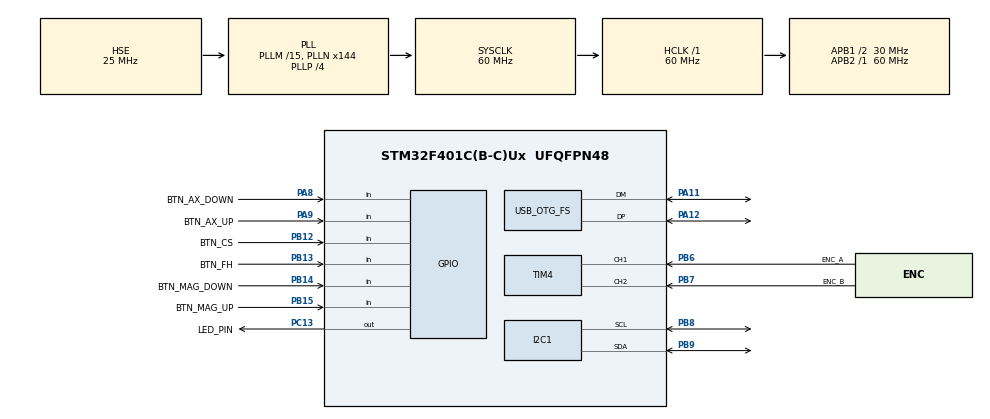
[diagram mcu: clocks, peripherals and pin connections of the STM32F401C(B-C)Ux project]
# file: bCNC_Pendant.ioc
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I2C1.I2C_Mode=I2C_Fast
Mcu.Family=STM32F4
Mcu.Name=STM32F401C(B-C)Ux
Mcu.Package=UFQFPN48
NVIC.OTG_FS_IRQn=true\:0\:0\:false\:false\:true\:false\:true
NVIC.PriorityGroup=NVIC_PRIORITYGROUP_4
PA11.Mode=Device_Only
PA11.Signal=USB_OTG_FS_DM
PA12.Mode=Device_Only
PA12.Signal=USB_OTG_FS_DP
PA8.GPIO_Label=BTN_AX_DOWN
PA8.GPIO_PuPd=GPIO_PULLUP
PA8.Signal=GPIO_Input
PA9.GPIO_Label=BTN_AX_UP
PA9.GPIO_PuPd=GPIO_PULLUP
PA9.Signal=GPIO_Input
PB12.GPIO_Label=BTN_CS
PB12.GPIO_PuPd=GPIO_PULLUP
PB12.Signal=GPIO_Input
PB13.GPIO_Label=BTN_FH
PB13.GPIO_PuPd=GPIO_PULLUP
PB13.Signal=GPIO_Input
PB14.GPIO_Label=BTN_MAG_DOWN
PB14.GPIO_PuPd=GPIO_PULLUP
PB14.Signal=GPIO_Input
PB15.GPIO_Label=BTN_MAG_UP
PB15.GPIO_PuPd=GPIO_PULLUP
PB15.Signal=GPIO_Input
PB6.GPIO_Label=ENC_A
PB6.GPIO_PuPd=GPIO_PULLUP
PB6.Signal=S_TIM4_CH1
PB7.GPIO_Label=ENC_B
PB7.GPIO_PuPd=GPIO_PULLUP
PB7.Signal=S_TIM4_CH2
PB8.Mode=I2C
PB8.Signal=I2C1_SCL
PB9.Mode=I2C
PB9.Signal=I2C1_SDA
PC13-ANTI_TAMP.GPIO_Label=LED_PIN
PC13-ANTI_TAMP.Signal=GPIO_Output
PH0\ -\ OSC_IN.Mode=HSE-External-Oscillator
PH0\ -\ OSC_IN.Signal=RCC_OSC_IN
PH1\ -\ OSC_OUT.Mode=HSE-External-Oscillator
PH1\ -\ OSC_OUT.Signal=RCC_OSC_OUT
ProjectManager.HeapSize=0x200
ProjectManager.StackSize=0x400
ProjectManager.TargetToolchain=TrueSTUDIO
RCC.48MHZClocksFreq_Value=48000000
RCC.AHBFreq_Value=60000000
RCC.APB1CLKDivider=RCC_HCLK_DIV2
RCC.APB1Freq_Value=30000000
RCC.APB1TimFreq_Value=60000000
RCC.APB2Freq_Value=60000000
RCC.APB2TimFreq_Value=60000000
RCC.CortexFreq_Value=60000000
RCC.HCLKFreq_Value=60000000
RCC.HSE_VALUE=25000000
RCC.HSI_VALUE=16000000
RCC.LSE_VALUE=32768
RCC.PLLM=15
RCC.PLLN=144
RCC.PLLP=RCC_PLLP_DIV4
RCC.PLLQ=5
RCC.SYSCLKFreq_VALUE=60000000
RCC.SYSCLKSource=RCC_SYSCLKSOURCE_PLLCLK
RCC.VCOOutputFreq_Value=240000000
SH.S_TIM4_CH1.0=TIM4_CH1,Encoder_Interface
SH.S_TIM4_CH2.0=TIM4_CH2,Encoder_Interface
TIM4.IC1Polarity=TIM_ICPOLARITY_FALLING
TIM4.IC2Polarity=TIM_ICPOLARITY_FALLING
USB_DEVICE.CLASS_NAME_FS=HID
USB_DEVICE.VirtualMode=Hid
USB_DEVICE.VirtualModeFS=Hid_FS
USB_OTG_FS.VirtualMode=Device_Only
VP_USB_DEVICE_VS_USB_DEVICE_HID_FS.Mode=HID_FS
board=custom

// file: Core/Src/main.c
/* USER CODE BEGIN Header */
/**
  ******************************************************************************
  * @file           : main.c
  * @brief          : Main program body
  ******************************************************************************
  * @attention
  *
  * <h2><center>&copy; Copyright (c) 2021 STMicroelectronics.
  * All rights reserved.</center></h2>
  *
  * This software component is licensed by ST under Ultimate Liberty license
  * SLA0044, the "License"; You may not use this file except in compliance with
  * the License. You may obtain a copy of the License at:
  *                             www.st.com/SLA0044
  *
  ******************************************************************************
  */
/* USER CODE END Header */
#include "main.h"
#include "usb_device.h"

/* USER CODE BEGIN Includes */
#include <stdbool.h>
#include "defines.h"
#include "u8glib\\u8g2.h"
#include "u8g_drawfunc.h"
#include "u8g_callback.h"
#include "Encoder.h"
#include "SendKey.h"
#include "BtnHandler.h"
/* USER CODE END Includes */

I2C_HandleTypeDef hi2c1;

TIM_HandleTypeDef htim4;

/* USER CODE BEGIN PV */
extern USBD_HandleTypeDef hUsbDeviceFS;
u8x8_t u8x8;                    // u8x8 object
u8g2_t u8g2;

/* USER CODE END PV */

void SystemClock_Config(void);
static void MX_GPIO_Init(void);
static void MX_I2C1_Init(void);
static void MX_TIM4_Init(void);

int main(void)
{
  /* USER CODE BEGIN 1 */
	int16_t rotaryPulse = 0;
	uint32_t counter= 0;
	int8_t axisSelection = AXIS_OFF;		// initial selection is OFF
	int8_t magSelection = MAG_0010;		// initial selection 10um

  /* USER CODE END 1 */

  /* MCU Configuration--------------------------------------------------------*/

  /* Reset of all peripherals, Initializes the Flash interface and the Systick. */
  HAL_Init();

  /* Configure the system clock */
  SystemClock_Config();

  /* Initialize all configured peripherals */
  MX_GPIO_Init();
  MX_USB_DEVICE_Init();
  MX_I2C1_Init();
  MX_TIM4_Init();
  /* USER CODE BEGIN 2 */

  // start TIM4 encoder count
  Encoder(&htim4);	// encoder setup
  enc_Start();	// Encoder read start

  // graphic
  u8g_DrawFunc(&u8g2);
  u8g_Setup();

  // Key handler
  BtnHandler();

  // Sending Key code
  key_Setup();

  /* USER CODE END 2 */

  /* Infinite loop */
  while (1)
  {

    /* USER CODE BEGIN 3 */

	  counter ++;

	    // Send HID report

	  // Read button status
	  btn_ReadKeyStatus();
	  // Detect key status edge
	  struct KEYSTATUS sts;
	  btn_SetKeyStatus(&sts);

	  if( (OFF_EDGE == sts.btn1) || (OFF_EDGE == sts.btn2) )
	  {
		  axisSelection += btn_Axis();
		  if( axisSelection < AXIS_OFF ) axisSelection = AXIS_OFF;
		  if( axisSelection > MAX_AXIS ) axisSelection = MAX_AXIS;
		  enc_ResetPulse();
	  }
	  if( (OFF_EDGE == sts.btn3) || (OFF_EDGE == sts.btn4) )
	  {
		  magSelection += btn_MAG();
		  if( magSelection < MAG_0001 ) magSelection = MAG_0001;
		  if( magSelection > MAG_1000 ) magSelection = MAG_1000;
		  key_sendMag(magSelection);
		  enc_ResetPulse();
	  }
	  if( (OFF_EDGE == sts.btn5) )	// Cycle start
	  {
		  // Send Key code
		  key_sendCS();
	  }
	  if( (ON_EDGE == sts.btn6) )	// Feed Hold
	  {
		  // Send Key code
		  key_sendFH();
	  }

		// Read Counter
		rotaryPulse = enc_GetPulse(); // Read rotation level (No update volume value)

		if(/*!(counter%10) &&*/ rotaryPulse != 0)
		{
			int8_t dir = (rotaryPulse<0)?PULSE_MINUS:PULSE_PLUS;

			key_sendPulse(axisSelection, dir );
			enc_SentPulse(dir);	// send command
		}

		// Draw graphic
		u8g_Draw(rotaryPulse, axisSelection, magSelection);

        HAL_Delay(10);

  }
  /* USER CODE END 3 */
}

void SystemClock_Config(void)
{
  RCC_OscInitTypeDef RCC_OscInitStruct = {0};
  RCC_ClkInitTypeDef RCC_ClkInitStruct = {0};

  /** Configure the main internal regulator output voltage
  */
  __HAL_RCC_PWR_CLK_ENABLE();
  __HAL_PWR_VOLTAGESCALING_CONFIG(PWR_REGULATOR_VOLTAGE_SCALE2);
  /** Initializes the RCC Oscillators according to the specified parameters
  * in the RCC_OscInitTypeDef structure.
  */
  RCC_OscInitStruct.OscillatorType = RCC_OSCILLATORTYPE_HSE;
  RCC_OscInitStruct.HSEState = RCC_HSE_ON;
  RCC_OscInitStruct.PLL.PLLState = RCC_PLL_ON;
  RCC_OscInitStruct.PLL.PLLSource = RCC_PLLSOURCE_HSE;
  RCC_OscInitStruct.PLL.PLLM = 15;
  RCC_OscInitStruct.PLL.PLLN = 144;
  RCC_OscInitStruct.PLL.PLLP = RCC_PLLP_DIV4;
  RCC_OscInitStruct.PLL.PLLQ = 5;
  if (HAL_RCC_OscConfig(&RCC_OscInitStruct) != HAL_OK)
  {
    Error_Handler();
  }
  /** Initializes the CPU, AHB and APB buses clocks
  */
  RCC_ClkInitStruct.ClockType = RCC_CLOCKTYPE_HCLK|RCC_CLOCKTYPE_SYSCLK
                              |RCC_CLOCKTYPE_PCLK1|RCC_CLOCKTYPE_PCLK2;
  RCC_ClkInitStruct.SYSCLKSource = RCC_SYSCLKSOURCE_PLLCLK;
  RCC_ClkInitStruct.AHBCLKDivider = RCC_SYSCLK_DIV1;
  RCC_ClkInitStruct.APB1CLKDivider = RCC_HCLK_DIV2;
  RCC_ClkInitStruct.APB2CLKDivider = RCC_HCLK_DIV1;

  if (HAL_RCC_ClockConfig(&RCC_ClkInitStruct, FLASH_LATENCY_1) != HAL_OK)
  {
    Error_Handler();
  }
}

static void MX_I2C1_Init(void)
{

  hi2c1.Instance = I2C1;
  hi2c1.Init.ClockSpeed = 400000;
  hi2c1.Init.DutyCycle = I2C_DUTYCYCLE_2;
  hi2c1.Init.OwnAddress1 = 0;
  hi2c1.Init.AddressingMode = I2C_ADDRESSINGMODE_7BIT;
  hi2c1.Init.DualAddressMode = I2C_DUALADDRESS_DISABLE;
  hi2c1.Init.OwnAddress2 = 0;
  hi2c1.Init.GeneralCallMode = I2C_GENERALCALL_DISABLE;
  hi2c1.Init.NoStretchMode = I2C_NOSTRETCH_DISABLE;
  if (HAL_I2C_Init(&hi2c1) != HAL_OK)
  {
    Error_Handler();
  }

}

static void MX_TIM4_Init(void)
{

  TIM_Encoder_InitTypeDef sConfig = {0};
  TIM_MasterConfigTypeDef sMasterConfig = {0};

  htim4.Instance = TIM4;
  htim4.Init.Prescaler = 0;
  htim4.Init.CounterMode = TIM_COUNTERMODE_UP;
  htim4.Init.Period = 65535;
  htim4.Init.ClockDivision = TIM_CLOCKDIVISION_DIV1;
  htim4.Init.AutoReloadPreload = TIM_AUTORELOAD_PRELOAD_DISABLE;
  sConfig.EncoderMode = TIM_ENCODERMODE_TI1;
  sConfig.IC1Polarity = TIM_ICPOLARITY_FALLING;
  sConfig.IC1Selection = TIM_ICSELECTION_DIRECTTI;
  sConfig.IC1Prescaler = TIM_ICPSC_DIV1;
  sConfig.IC1Filter = 0;
  sConfig.IC2Polarity = TIM_ICPOLARITY_FALLING;
  sConfig.IC2Selection = TIM_ICSELECTION_DIRECTTI;
  sConfig.IC2Prescaler = TIM_ICPSC_DIV1;
  sConfig.IC2Filter = 0;
  if (HAL_TIM_Encoder_Init(&htim4, &sConfig) != HAL_OK)
  {
    Error_Handler();
  }
  sMasterConfig.MasterOutputTrigger = TIM_TRGO_RESET;
  sMasterConfig.MasterSlaveMode = TIM_MASTERSLAVEMODE_DISABLE;
  if (HAL_TIMEx_MasterConfigSynchronization(&htim4, &sMasterConfig) != HAL_OK)
  {
    Error_Handler();
  }

}

static void MX_GPIO_Init(void)
{
  GPIO_InitTypeDef GPIO_InitStruct = {0};

  /* GPIO Ports Clock Enable */
  __HAL_RCC_GPIOC_CLK_ENABLE();
  __HAL_RCC_GPIOH_CLK_ENABLE();
  __HAL_RCC_GPIOB_CLK_ENABLE();
  __HAL_RCC_GPIOA_CLK_ENABLE();

  /*Configure GPIO pin Output Level */
  HAL_GPIO_WritePin(LED_PIN_GPIO_Port, LED_PIN_Pin, GPIO_PIN_RESET);

  /*Configure GPIO pin : LED_PIN_Pin */
  GPIO_InitStruct.Pin = LED_PIN_Pin;
  GPIO_InitStruct.Mode = GPIO_MODE_OUTPUT_PP;
  GPIO_InitStruct.Pull = GPIO_NOPULL;
  GPIO_InitStruct.Speed = GPIO_SPEED_FREQ_LOW;
  HAL_GPIO_Init(LED_PIN_GPIO_Port, &GPIO_InitStruct);

  /*Configure GPIO pins : BTN_CS_Pin BTN_FH_Pin BTN_MAG_DOWN_Pin BTN_MAG_UP_Pin */
  GPIO_InitStruct.Pin = BTN_CS_Pin|BTN_FH_Pin|BTN_MAG_DOWN_Pin|BTN_MAG_UP_Pin;
  GPIO_InitStruct.Mode = GPIO_MODE_INPUT;
  GPIO_InitStruct.Pull = GPIO_PULLUP;
  HAL_GPIO_Init(GPIOB, &GPIO_InitStruct);

  /*Configure GPIO pins : BTN_AX_DOWN_Pin BTN_AX_UP_Pin */
  GPIO_InitStruct.Pin = BTN_AX_DOWN_Pin|BTN_AX_UP_Pin;
  GPIO_InitStruct.Mode = GPIO_MODE_INPUT;
  GPIO_InitStruct.Pull = GPIO_PULLUP;
  HAL_GPIO_Init(GPIOA, &GPIO_InitStruct);

}

void Error_Handler(void)
{
}

/************************ (C) COPYRIGHT STMicroelectronics *****END OF FILE****/
